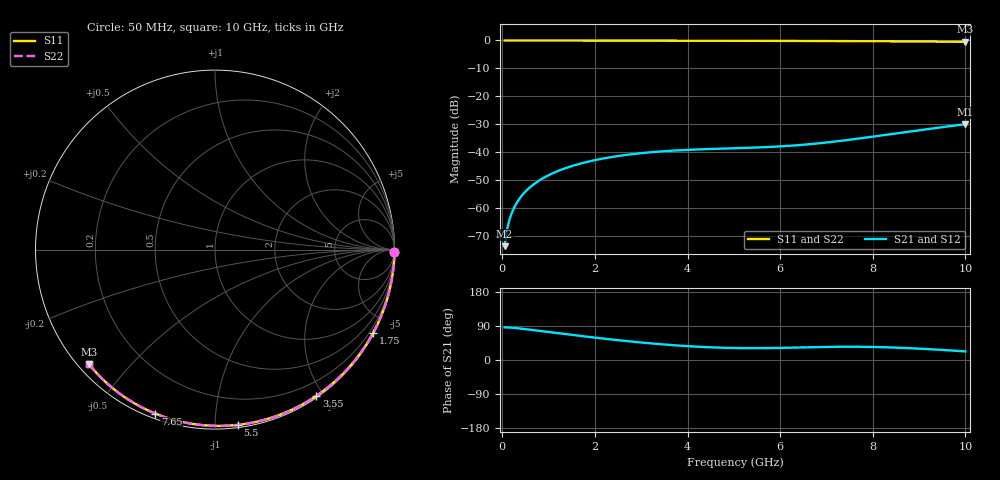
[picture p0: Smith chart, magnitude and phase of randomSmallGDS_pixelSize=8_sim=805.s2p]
! freq	dB(S11)	phase(S11)	dB(S12)	phase(S12)
!  dB(S21)	phase(S21)	dB(S22)	phase(S22)
!S-par simulation data
#  GHz  S  DB  R 50
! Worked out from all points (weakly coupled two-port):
!   200 points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, 50 MHz to 10 GHz, reference 50 ohm
!   highest |S21| = -29.92 dB at 10 GHz (marker M1); lowest = -73.5 dB at 50 MHz (marker M2)
!   lowest |S11| = -0.5 dB at 10 GHz (marker M3), VSWR 38.08, Z = 1.51 - j19.3 ohm
!   |S11| at or under -10 dB: nowhere
!   |S22| runs from -0.5 to 0.0 dB; largest |S21 - S12| = 0
!   S11 on the Smith chart (normalised r, x): 50 MHz: open; 1.75 GHz: 0.04, -4.02; 3.55 GHz: 0.02, -1.91; 5.5 GHz: 0.02, -1.14; 7.65 GHz: 0.02, -0.70; 10 GHz: 0.03, -0.39
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0.05  -0.00 -0.8  -73.51 86.2  -73.51 86.2  -0.00 -0.8
0.1  -0.00 -1.6  -67.76 86.0  -67.76 86.0  -0.00 -1.6
0.15  -0.00 -2.4  -64.33 85.8  -64.33 85.8  -0.00 -2.4
0.2  -0.00 -3.3  -61.87 85.4  -61.87 85.4  -0.00 -3.3
0.25  -0.00 -4.1  -59.95 84.9  -59.95 84.9  -0.00 -4.1
0.35  -0.00 -5.7  -57.06 83.6  -57.06 83.6  -0.00 -5.7
0.5  -0.01 -8.1  -54.00 81.4  -54.00 81.4  -0.01 -8.1
0.7  -0.01 -11.3  -51.13 78.4  -51.13 78.4  -0.01 -11.3
1  -0.02 -16.1  -48.15 73.8  -48.15 73.8  -0.02 -16.1
1.35  -0.03 -21.7  -45.72 68.5  -45.72 68.5  -0.03 -21.7
1.75  -0.04 -27.9  -43.73 62.6  -43.73 62.6  -0.04 -27.9
2.5  -0.05 -39.5  -41.30 52.3  -41.30 52.3  -0.05 -39.5
3.4  -0.07 -53.0  -39.69 41.8  -39.69 41.8  -0.07 -53.0
3.55  -0.07 -55.2  -39.51 40.4  -39.51 40.4  -0.07 -55.2
4.3  -0.09 -66.0  -38.89 34.5  -38.89 34.5  -0.09 -66.0
5.05  -0.12 -76.5  -38.50 31.6  -38.50 31.6  -0.12 -76.5
5.5  -0.13 -82.5  -38.25 31.3  -38.25 31.3  -0.13 -82.5
6.7  -0.19 -98.1  -36.98 33.8  -36.98 33.8  -0.19 -98.1
7.65  -0.25 -109.9  -35.15 35.0  -35.15 35.0  -0.25 -110.0
8.35  -0.30 -118.4  -33.56 33.3  -33.56 33.3  -0.30 -118.4
9.2  -0.37 -128.5  -31.63 28.7  -31.63 28.7  -0.37 -128.5
10  -0.46 -137.8  -29.92 22.7  -29.92 22.7  -0.46 -137.8
